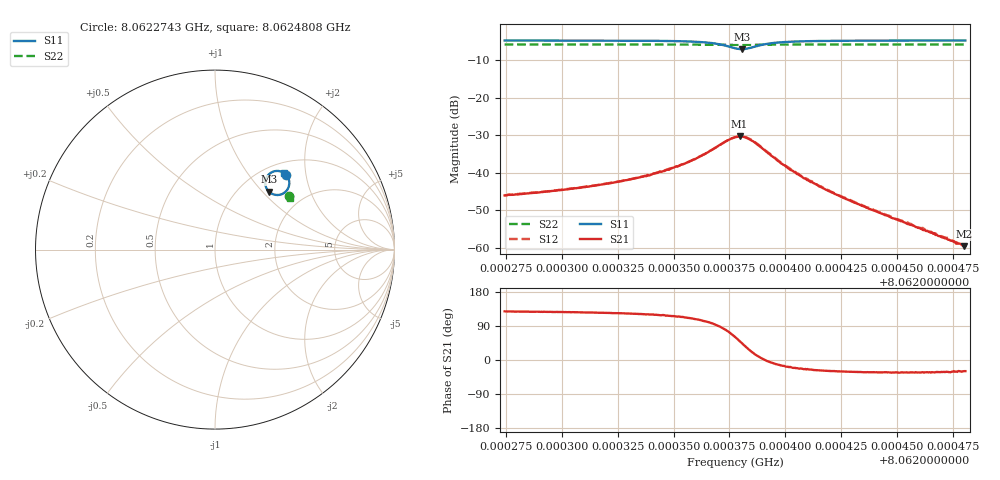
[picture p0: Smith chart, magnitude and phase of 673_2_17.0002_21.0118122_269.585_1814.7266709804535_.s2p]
#  HZ  S  RI  R  50.00
! Rohde & Schwarz Vector Network Analyzer
! Rohde-Schwarz,ZNB20-2Port,1311601062101988,3.16
! Created: UTC 3/20/2024, 11:22:14 PM
! freq[Hz]  re:S11  im:S11  re:S21  im:S21  re:S12  im:S12  re:S22  im:S22
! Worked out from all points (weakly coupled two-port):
!   401 points, 8.0622743 GHz to 8.0624808 GHz, reference 50 ohm
!   highest |S21| = -30.36 dB at 8.0623796 GHz (marker M1); lowest = -59.6 dB at 8.0624802 GHz (marker M2)
!   lowest |S11| = -7.1 dB at 8.0623806 GHz (marker M3), VSWR 2.58, Z = 68 + j54.4 ohm
!   |S11| at or under -10 dB: nowhere
!   |S22| runs from -6.0 to -5.9 dB; largest |S21 - S12| = 0.0014
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8.06227433e9  0.396 0.418  -0.00309 0.00389  -0.00287 0.00411  0.4136 0.296
8.0623089e9  0.4016 0.4109  -0.00371 0.00515  -0.00341 0.0054  0.4152 0.294
8.06232748e9  0.4059 0.4041  -0.00423 0.00653  -0.00389 0.00682  0.4158 0.2927
8.06234348e9  0.4106 0.3934  -0.0049 0.00896  -0.00438 0.00915  0.4164 0.2915
8.06235587e9  0.4142 0.3762  -0.00504 0.0126  -0.00417 0.0129  0.4168 0.29
8.06236722e9  0.4071 0.3411  -0.00244 0.02  -0.00129 0.0201  0.4162 0.288
8.06237238e9  0.3857 0.3163  0.00304 0.0248  0.00431 0.0246  0.4151 0.2869
8.06237754e9  0.3359 0.305  0.0144 0.0259  0.0155 0.0252  0.4129 0.2867
8.06237961e9  0.3117 0.3143  0.0195 0.0232  0.0205 0.0224  0.412 0.2875
8.06238064e9  0.301 0.3224  0.0215 0.021  0.0227 0.0203  0.4117 0.2878
8.06238322e9  0.2834 0.3499  0.0246 0.0144  0.0255 0.0136  0.4114 0.2892
8.06238528e9  0.28 0.3734  0.0249 0.00919  0.0256 0.00817  0.4115 0.2902
8.06239251e9  0.3052 0.4238  0.018 -0.0013  0.0183 -0.00221  0.4137 0.2918
8.0624018e9  0.3373 0.4379  0.0106 -0.00365  0.0107 -0.00426  0.4155 0.2916
8.06241212e9  0.3561 0.438  0.00675 -0.00323  0.00666 -0.00371  0.4167 0.2909
8.06242502e9  0.3686 0.435  0.00413 -0.00241  0.00402 -0.00272  0.4177 0.29
8.0624467e9  0.379 0.4305  0.00218 -0.00141  0.00213 -0.00159  0.4188 0.2886
8.06246889e9  0.3848 0.4272  0.00121 -0.000753  0.00117 -0.000863  0.4197 0.2871
8.06247301e9  0.3856 0.4266  0.00109 -0.000669  0.00111 -0.000765  0.4199 0.2869
8.06247766e9  0.3865 0.4261  0.000992 -0.000549  0.000923 -0.000664  0.42 0.2867
8.06248024e9  0.387 0.4257  0.000913 -0.000515  0.000913 -0.000593  0.4203 0.2867
8.06248076e9  0.387 0.4258  0.000918 -0.000518  0.000882 -0.000595  0.4202 0.2864
